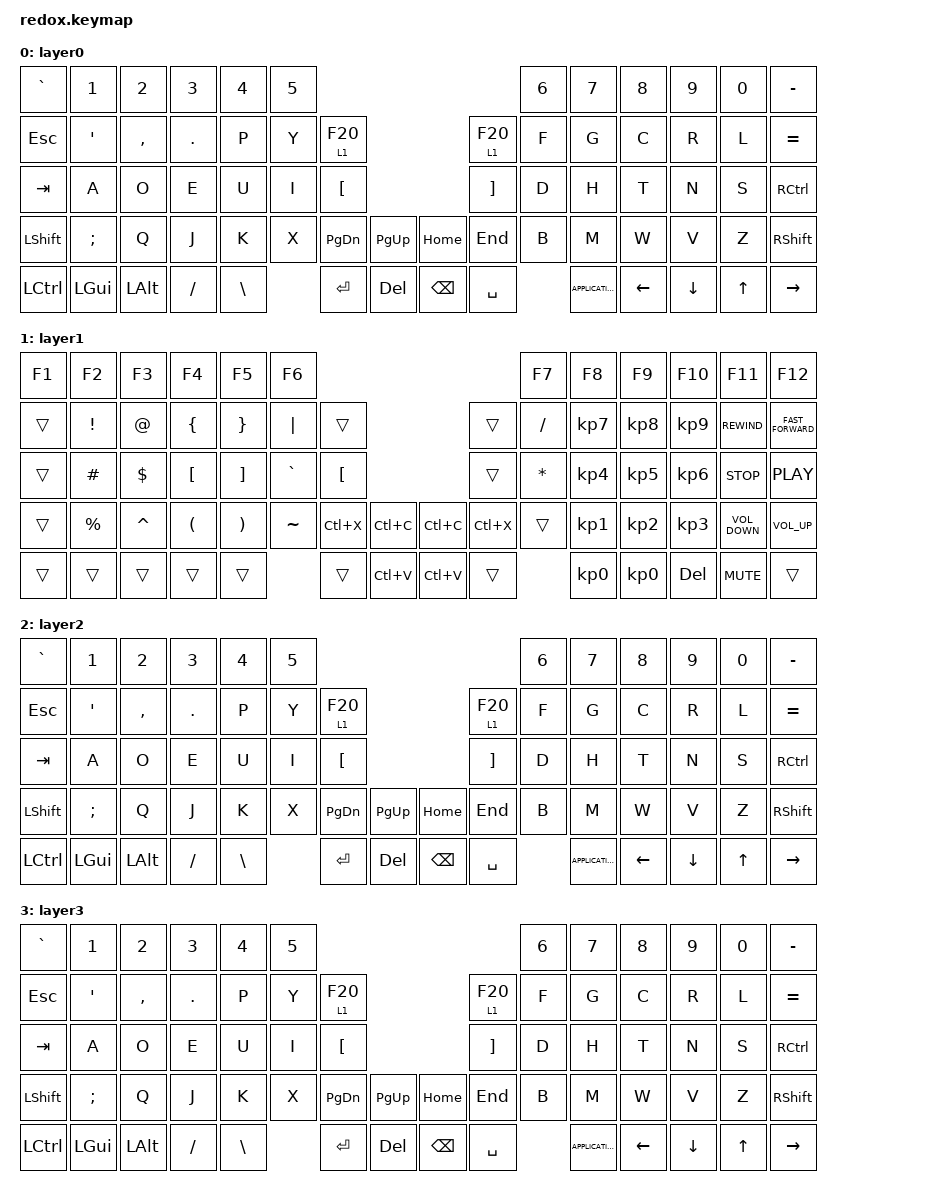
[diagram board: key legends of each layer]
/*
  * Copyright (c) 2020 The ZMK Contributors
  *
  * SPDX-License-Identifier: MIT
  */

#include <behaviors.dtsi>
#include <dt-bindings/zmk/keys.h>

/ {
    keymap {
        compatible = "zmk,keymap";

        layer0 {
            bindings = <
&kp GRAVE         &kp N1            &kp N2        &kp N3     &kp N4         &kp N5                                                                     &kp N6  &kp N7             &kp N8    &kp N9    &kp N0  &kp MINUS
&kp ESCAPE        &kp SINGLE_QUOTE  &kp COMMA     &kp DOT    &kp P          &kp Y   &lt 1 F20                                       &lt 1 F20          &kp F   &kp G              &kp C     &kp R     &kp L   &kp EQUAL
&kp TAB           &kp A             &kp O         &kp E      &kp U          &kp I   &kp LEFT_BRACKET                                &kp RIGHT_BRACKET  &kp D   &kp H              &kp T     &kp N     &kp S   &kp RIGHT_CONTROL
&kp LEFT_SHIFT    &kp SEMICOLON     &kp Q         &kp J      &kp K          &kp X   &kp PAGE_DOWN     &kp PAGE_UP    &kp HOME       &kp END            &kp B   &kp M              &kp W     &kp V     &kp Z   &kp RIGHT_SHIFT
&kp LEFT_CONTROL  &kp LEFT_GUI      &kp LEFT_ALT  &kp SLASH  &kp BACKSLASH          &kp ENTER         &kp DELETE     &kp BACKSPACE  &kp SPACE                  &kp K_APPLICATION  &kp LEFT  &kp DOWN  &kp UP  &kp RIGHT
            >;
        };

        layer1 {
            bindings = <
&kp F1  &kp F2           &kp F3       &kp F4                &kp F5                 &kp F6                                                          &kp F7        &kp F8           &kp F9           &kp F10          &kp F11            &kp F12
&trans  &kp EXCLAMATION  &kp AT_SIGN  &kp LEFT_BRACE        &kp RIGHT_BRACE        &kp PIPE   &trans                                    &trans     &kp SLASH     &kp KP_NUMBER_7  &kp KP_NUMBER_8  &kp KP_NUMBER_9  &kp C_REWIND       &kp C_FAST_FORWARD
&trans  &kp HASH         &kp DOLLAR   &kp LEFT_BRACKET      &kp RIGHT_BRACKET      &kp GRAVE  &kp LEFT_BRACKET                          &trans     &kp ASTERISK  &kp KP_NUMBER_4  &kp KP_NUMBER_5  &kp KP_NUMBER_6  &kp K_STOP         &kp C_PLAY
&trans  &kp PERCENT      &kp CARET    &kp LEFT_PARENTHESIS  &kp RIGHT_PARENTHESIS  &kp TILDE  &kp LC(X)         &kp LC(C)    &kp LC(C)  &kp LC(X)  &trans        &kp KP_NUMBER_1  &kp KP_NUMBER_2  &kp KP_NUMBER_3  &kp C_VOLUME_DOWN  &kp C_VOLUME_UP
&trans  &trans           &trans       &trans                &trans                            &trans            &kp LC(V)    &kp LC(V)  &trans                   &kp KP_NUMBER_0  &kp KP_NUMBER_0  &kp DEL          &kp C_MUTE         &trans
            >;
        };

        layer2 {
            bindings = <
&kp GRAVE         &kp N1            &kp N2        &kp N3     &kp N4         &kp N5                                                                     &kp N6  &kp N7             &kp N8    &kp N9    &kp N0  &kp MINUS
&kp ESCAPE        &kp SINGLE_QUOTE  &kp COMMA     &kp DOT    &kp P          &kp Y   &lt 1 F20                                       &lt 1 F20          &kp F   &kp G              &kp C     &kp R     &kp L   &kp EQUAL
&kp TAB           &kp A             &kp O         &kp E      &kp U          &kp I   &kp LEFT_BRACKET                                &kp RIGHT_BRACKET  &kp D   &kp H              &kp T     &kp N     &kp S   &kp RIGHT_CONTROL
&kp LEFT_SHIFT    &kp SEMICOLON     &kp Q         &kp J      &kp K          &kp X   &kp PAGE_DOWN     &kp PAGE_UP    &kp HOME       &kp END            &kp B   &kp M              &kp W     &kp V     &kp Z   &kp RIGHT_SHIFT
&kp LEFT_CONTROL  &kp LEFT_GUI      &kp LEFT_ALT  &kp SLASH  &kp BACKSLASH          &kp ENTER         &kp DELETE     &kp BACKSPACE  &kp SPACE                  &kp K_APPLICATION  &kp LEFT  &kp DOWN  &kp UP  &kp RIGHT
            >;
        };

        layer3 {
            bindings = <
&kp GRAVE         &kp N1            &kp N2        &kp N3     &kp N4         &kp N5                                                                     &kp N6  &kp N7             &kp N8    &kp N9    &kp N0  &kp MINUS
&kp ESCAPE        &kp SINGLE_QUOTE  &kp COMMA     &kp DOT    &kp P          &kp Y   &lt 1 F20                                       &lt 1 F20          &kp F   &kp G              &kp C     &kp R     &kp L   &kp EQUAL
&kp TAB           &kp A             &kp O         &kp E      &kp U          &kp I   &kp LEFT_BRACKET                                &kp RIGHT_BRACKET  &kp D   &kp H              &kp T     &kp N     &kp S   &kp RIGHT_CONTROL
&kp LEFT_SHIFT    &kp SEMICOLON     &kp Q         &kp J      &kp K          &kp X   &kp PAGE_DOWN     &kp PAGE_UP    &kp HOME       &kp END            &kp B   &kp M              &kp W     &kp V     &kp Z   &kp RIGHT_SHIFT
&kp LEFT_CONTROL  &kp LEFT_GUI      &kp LEFT_ALT  &kp SLASH  &kp BACKSLASH          &kp ENTER         &kp DELETE     &kp BACKSPACE  &kp SPACE                  &kp K_APPLICATION  &kp LEFT  &kp DOWN  &kp UP  &kp RIGHT
            >;
        };
    };
};
